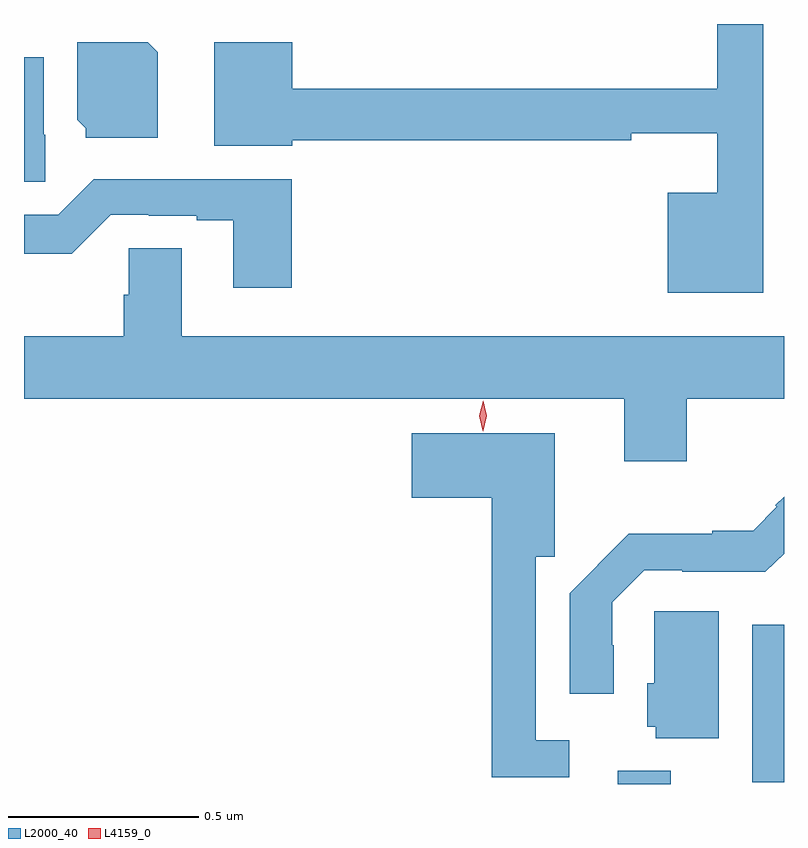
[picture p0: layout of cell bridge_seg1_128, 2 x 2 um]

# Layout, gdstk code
import gdstk
lib = gdstk.Library(unit=1e-6, precision=1e-09)
def R(c, l, rs):  # rectangles x0, y0, x1, y1
    for r in rs: c.add(gdstk.rectangle(r[:2], r[2:], *l))
def P(c, l, *ps):  # polygons
    for p in ps: c.add(gdstk.Polygon(p, *l))
L2000_40 = (2000, 40)
L4159_0 = (4159, 0)

bridge_seg1_128 = lib.new_cell('bridge_seg1_128')
R(bridge_seg1_128, L2000_40, [(235.604,508.094,235.744,508.129), (235.958,508.098,236.042,508.513)])
P(bridge_seg1_128, L2000_40, [(235.987,510.094),(235.866,510.094),(235.866,509.924),(234.748,509.924),(234.748,510.046),(234.542,510.046),(234.542,509.774),(234.748,509.774),(234.748,509.788),(235.64,509.788),(235.64,509.807),(235.866,509.807),(235.866,509.65),(235.736,509.65),(235.736,509.387),(235.987,509.387)],
  [(234.394,510.02),(234.368,510.046),(234.182,510.046),(234.182,509.842),(234.204,509.82),(234.204,509.795),(234.394,509.795)],
  [(234.098,509.802),(234.094,509.802),(234.094,510.007),(234.042,510.007),(234.042,509.679),(234.098,509.679)],
  [(234.746,509.686),(234.226,509.686),(234.132,509.592),(234.042,509.592),(234.042,509.49),(234.168,509.49),(234.27,509.592),(234.37,509.592),(234.37,509.589),(234.497,509.589),(234.497,509.577),(234.593,509.577),(234.593,509.4),(234.746,509.4)],
  [(235.786,509.108),(236.042,509.108),(236.042,509.272),(234.457,509.272),(234.457,509.504),(234.318,509.504),(234.318,509.382),(234.305,509.382),(234.305,509.272),(234.042,509.272),(234.042,509.108),(235.622,509.108),(235.622,508.944),(235.786,508.944)],
  [(235.477,508.209),(235.389,508.209),(235.389,508.692),(235.439,508.692),(235.439,509.017),(235.062,509.017),(235.062,508.847),(235.273,508.847),(235.273,508.112),(235.477,508.112)],
  [(235.594,508.459),(235.59,508.459),(235.59,508.572),(235.674,508.656),(235.774,508.656),(235.774,508.652),(235.993,508.652),(236.042,508.7),(236.042,508.85),(236.019,508.827),(236.023,508.823),(235.961,508.761),(235.853,508.761),(235.853,508.753),(235.633,508.753),(235.552,508.671),(235.552,508.67),(235.478,508.596),(235.478,508.332),(235.594,508.332)],
  [(235.87,508.548),(235.701,508.548),(235.701,508.359),(235.682,508.359),(235.682,508.245),(235.704,508.245),(235.704,508.214),(235.87,508.214)])
P(bridge_seg1_128, L4159_0, [(235.25,509.022),(235.249,509.023),(235.24,509.063),(235.25,509.103),(235.25,509.103),(235.25,509.103),(235.26,509.063),(235.25,509.023)])

lib.write_gds('bridge_seg1_128.gds')
